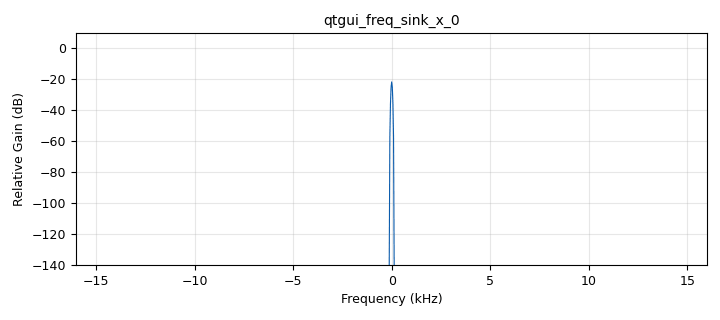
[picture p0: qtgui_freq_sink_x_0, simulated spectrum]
options:
  parameters:
    author: yabool2001
    copyright: maciej.zemlo@gmail.pl
    description: https://wiki.gnuradio.org/index.php?title=Designing_Filter_Taps
    generate_options: qt_gui
    id: tuto_wikignuradio_Designing_filter_taps
    output_language: python
    title: Wiki Tuto GNU Radio Designing filter taps Example
  states: {}

blocks:
- name: boxcar_filter
  id: variable
  parameters:
    value: 5.955526285106316e-05,5.7737022871151567e-05,5.5895259720273316e-05,5.403067552833818e-05,5.214396878727712e-05,5.0235859816893935e-05,4.8307058023056015e-05,4.635829463950358e-05,4.4390311813913286e-05,4.2403855331940576e-05,4.039967097924091e-05,3.837852636934258e-05,3.634118547779508e-05,3.428841955610551e-05,3.22210144076962e-05,3.0139754017000087e-05,2.8045431463397108e-05,2.5938845283235423e-05,2.3820797650841996e-05,2.1692098016501404e-05,1.9553559468477033e-05,1.740599691402167e-05,1.5250236174324527e-05,1.3087099432596005e-05,1.0917417057498824e-05,8.742018508201e-06,6.561739610333461e-06,4.377417099021841e-06,2.1898904378758743e-06,-2.4595437447500595e-19,-2.1914115677645896e-06,-4.383501618576702e-06,-6.575424322363688e-06,-8.766335668042302e-06,-1.0955390280287247e-05,-1.3141742783773225e-05,-1.532454916741699e-05,-1.75029672391247e-05,-1.9676150259329006e-05,-2.184326331189368e-05,-2.400346056674607e-05,-2.615590528876055e-05,-2.82997680187691e-05,-3.043421202164609e-05,-3.25584078382235e-05,-3.467153146630153e-05,-3.677275890368037e-05,-3.886127524310723e-05,-4.0936261939350516e-05,-4.299691499909386e-05,-4.504242679104209e-05,-4.707199695985764e-05,-4.908483970211819e-05,-5.108015830046497e-05,-5.3057177865412086e-05,-5.5015116231516004e-05,-5.695321306120604e-05,-5.8870704378932714e-05,-6.076684076106176e-05,-6.26408655080013e-05,-6.449205829994753e-05,-6.631967698922381e-05,-6.812299398006871e-05,-6.990131078055128e-05,-7.165392162278295e-05,-7.338013529079035e-05,-7.507925329264253e-05,-7.675062806811184e-05,-7.83935611252673e-05,-8.00074267317541e-05,-8.159158460330218e-05,-8.314537990372628e-05,-8.466820872854441e-05,-8.615945989731699e-05,-8.761853678151965e-05,-8.904485002858564e-05,-9.043782483786345e-05,-9.179690823657438e-05,-9.312155452789739e-05,-9.441122529096901e-05,-9.566539665684104e-05,-9.688355203252286e-05,-9.806521120481193e-05,-9.920988668454811e-05,-0.0001003171200864017,-0.00010138643847312778,-0.00010241741983918473,-0.0001034096276271157,-0.0001043626616592519,-0.00010527612903388217,-0.00010614963684929535,-0.00010698283585952595,-0.00010777536226669326,-0.00010852688137674704,-0.0001092370948754251,-0.0001099056753446348,-0.0001105323462979868,-0.00011111683852504939,-0.00011165889009134844,-0.00011215826089028269,-0.00011261474719503894,-0.00011302812345093116,-0.00011339819320710376,-0.00011372480366844684,-0.00011400778748793527,-0.0001142470064223744,-0.00011444232950452715,-0.00011459366214694455,-0.00011470090248622,-0.00011476399231469259,-0.00011478285887278616,-0.00011475748033262789,-0.00011468782759038731,-0.0001145738860941492,-0.00011441568494774401,-0.00011421323870308697,-0.000113966605567839,-0.000113675843749661,-0.00011334103328408673,-0.00011296226875856519,-0.0001125396738643758,-0.0001120733650168404,-0.00011156350956298411,-0.00011101025302195922,-0.0001104137918446213,-0.00010977432248182595,-0.00010909205593634397,-0.00010836723231477663,-0.00010760008444776759,-0.00010679088882170618,-0.00010593993647489697,-0.0001050475038937293,-0.00010411392577225342,-0.00010313951497664675,-0.00010212462802883238,-0.00010106962872669101,-9.997488086810336e-05,-9.884079918265343e-05,-9.766776929609478e-05,-9.645622776588425e-05,-9.520661842543632e-05,-9.391937783220783e-05,-9.259499347535893e-05,-9.123394556809217e-05,-8.98367288755253e-05,-8.84038454387337e-05,-8.693583367858082e-05,-8.543323201593012e-05,-8.389659342356026e-05,-8.232648542616516e-05,-8.072349010035396e-05,-7.9088204074651e-05,-7.742123125353828e-05,-7.572318281745538e-05,-7.399470632662997e-05,-7.223643478937447e-05,-7.044902304187417e-05,-6.863314774818718e-05,-6.678948557237163e-05,-6.491872045444325e-05,-6.30215581622906e-05,-6.109871173975989e-05,-5.915089786867611e-05,-5.7178858696715906e-05,-5.518332909559831e-05,-5.316506212693639e-05,-5.112481812830083e-05,-4.906337562715635e-05,-4.6981502237031236e-05,-4.4879991037305444e-05,-4.2759638745337725e-05,-4.062124571646564e-05,-3.846562321996316e-05,-3.62935898010619e-05,-3.410597491892986e-05,-3.190360439475626e-05,-2.9687314963666722e-05,-2.7457957912702113e-05,-2.5216377252945676e-05,-2.296342972840648e-05,-2.0699973902083002e-05,-1.842687743192073e-05,-1.6145006156875752e-05,-1.3855235010851175e-05,-1.1558438927750103e-05,-9.255500117433257e-06,-6.9472989707719535e-06,-4.634723154595122e-06,-2.318660108358017e-06,-1.7376110083988649e-19,2.3203658656711923e-06,4.641543910111068e-06,6.96264078214881e-06,9.282761311624199e-06,1.1601012374740094e-05,1.3916495845478494e-05,1.6228321328526363e-05,1.8535589333623648e-05,2.0837414922425523e-05,2.3132901333156042e-05,2.5421160898986273e-05,2.7701305953087285e-05,2.997245428559836e-05,3.2233721867669374e-05,3.4484230127418414e-05,3.672310049296357e-05,3.894946712534875e-05,4.116246054763906e-05,4.336121855885722e-05,4.554487895802595e-05,4.7712594096083194e-05,4.986351996194571e-05,5.1996805268572643e-05,5.411162055679597e-05,5.6207136367447674e-05,5.828253415529616e-05,6.0336995375109836e-05,6.236970511963591e-05,6.437988486140966e-05,6.636672333115712e-05,6.832944200141355e-05,7.026727689662948e-05,7.217944221338257e-05,7.406520307995379e-05,7.592380279675126e-05,7.775450649205595e-05,7.955658657010645e-05,8.132932998705655e-05,8.30720309750177e-05,8.478399831801653e-05,8.646453352412209e-05,8.811298903310671e-05,8.97286954568699e-05,9.131099795922637e-05,9.28592708078213e-05,9.437288827029988e-05,9.585123916622251e-05,9.729372686706483e-05,9.869978384813294e-05,0.00010006882075686008,0.0001014002991723828,0.00010269365884596482,0.00010394838318461552,0.00010516397014725953,0.00010633990314090624,0.00010747571650426835,0.00010857093002414331,0.00010962508531520143,0.0001106377603719011,0.00011160852591274306,0.00011253698176005855,0.0001134227350121364,0.00011426541459513828,0.00011506464943522587,0.00011582011939026415,0.00011653148976620287,0.00011719845497282222,0.00011782071669586003,0.00011839801300084218,0.00011893008195329458,0.00011941669072257355,0.00011985761375399306,0.00012025264004478231,0.00012060158769600093,0.00012090428208466619,0.00012116058496758342,0.00012137035082560033,0.0001215334705193527,0.00012164984218543395,0.0001217193785123527,0.00012174203584436327,0.00012171774869784713,0.00012164650979684666,0.00012152829731348902,0.00012136312579968944,0.00012115102435927838,0.00012089203664800152,0.00012058622814947739,0.00012023367889923975,0.0001198344980366528,0.00011938879470108077,0.00011889670713571832,0.00011835839541163296,0.0001177740195998922,0.00011714377615135163,0.00011646787606878206,0.00011574655218282714,0.0001149800227722153,0.0001141685715992935,0.00011331247515045106,0.00011241201718803495,0.0001114675251301378,0.00011047931184293702,0.00010944774840027094,0.0001083731694961898,0.00010725598986027762,0.00010609658056637272,0.00010489535634405911,0.00010365276830270886,0.00010236925299977884,0.00010104527609655634,9.968131053028628e-05,9.827785106608644e-05,9.683541429694742e-05,9.535452409181744e-05,9.383572614751756e-05,9.227956616086885e-05,9.068661893252283e-05,8.905747381504625e-05,8.739273471292108e-05,8.569300553062931e-05,8.395891927648336e-05,8.219111623475328e-05,8.039025124162436e-05,7.85570009611547e-05,7.669203478144482e-05,7.479605119442567e-05,7.286976324394345e-05,7.091388397384435e-05,6.892914097988978e-05,6.6916283685714e-05,6.487606151495129e-05,6.280925299506634e-05,6.0716607549693435e-05,5.8598932810127735e-05,5.645701821777038e-05,5.429167140391655e-05,5.210370727581903e-05,4.989395529264584e-05,4.7663244913564995e-05,4.541242742561735e-05,4.314234320190735e-05,4.0853865357348695e-05,3.854785245493986e-05,3.6225181247573346e-05,3.388673212612048e-05,3.153339639538899e-05,2.916607445513364e-05,2.678565761016216e-05,2.4393058993155137e-05,2.1989191736793146e-05,1.9574968973756768e-05,1.715131656965241e-05,1.4719162209075876e-05,1.2279432667128276e-05,9.833065632847138e-06,7.380996976280585e-06,4.924167569697602e-06,2.4635198769829003e-06,-2.4595437447500595e-19,-2.4654452772665536e-06,-4.931867351842811e-06,-7.398316483886447e-06,-9.863842024060432e-06,-1.2327494005148765e-05,-1.478832109569339e-05,-1.7245371054741554e-05,-1.9697696188814007e-05,-2.21443478949368e-05,-2.4584378479630686e-05,-2.701684024941642e-05,-2.9440792786772363e-05,-3.185529203619808e-05,-3.425940667511895e-05,-3.665219628601335e-05,-3.9032729546306655e-05,-4.1400082409381866e-05,-4.3753330828621984e-05,-4.609155803336762e-05,-4.8413847252959386e-05,-5.071929990663193e-05,-5.300700286170468e-05,-5.527606845134869e-05,-5.752560537075624e-05,-5.9754729591077194e-05,-6.196257163537666e-05,-6.414824747480452e-05,-6.631092401221395e-05,-6.844972813269123e-05,-7.056383037706837e-05,-7.26523794583045e-05,-7.471456774510443e-05,-7.674956577830017e-05,-7.875658775446936e-05,-8.073481876635924e-05,-8.268348028650507e-05,-8.460179378744215e-05,-8.648900256957859e-05,-8.834435720928013e-05,-9.016710828291252e-05,-9.195652819471434e-05,-9.3711911176797e-05,-9.543254418531433e-05,-9.711773600429296e-05,-9.876681724563241e-05,-0.00010037911852123216,-0.00010195397771894932,-0.0001034907836583443,-0.00010498890333110467,-0.00010644771828083321,-0.0001078666391549632,-0.00010924509115284309,-0.0001105825140257366,-0.00011187835480086505,-0.000113132075057365,-0.00011434316547820345,-0.00011551113857422024,-0.00011663547775242478,-0.0001177157464553602,-0.0001187514717457816,-0.00011974223161814734,-0.0001206875967909582,-0.0001215871816384606,-0.0001224405859829858,-0.00012324746057856828,-0.00012400744890328497,-0.0001247202162630856,-0.0001253854570677504,-0.00012600286572705954,-0.00012657218030653894,-0.00012709313887171447,-0.00012756549404002726,-0.00012798902753274888,-0.00012836355017498136,-0.00012868887279182673,-0.00012896480620838702,-0.0001291912340093404,-0.00012936802522744983,-0.00012949506344739348,-0.00012957224680576473,-0.00012959953164681792,-0.0001295768452109769,-0.00012950417294632643,-0.0001293815003009513,-0.00012920881272293627,-0.00012898616841994226,-0.00012871361104771495,-0.0001283911697100848,-0.0001280189462704584,-0.0001275970571441576,-0.0001271256187465042,-0.00012660476204473525,-0.0001260346471099183,-0.00012541547766886652,-0.00012474742834456265,-0.00012403073196765035,-0.00012326560681685805,-0.0001224523293785751,-0.00012159115431131795,-0.00012068239448126405,-0.00011972634092671797,-0.00011872333561768755,-0.00011767374235205352,-0.00011657789582386613,-0.00011543619621079415,-0.00011424903641454875,-0.0001130168602685444,-0.00011174008977832273,-0.00011041916877729818,-0.00010905459203058854,-0.00010764683975139633,-0.00010619642853271216,-0.00010470386769156903,-0.000103169702924788,-0.00010159449448110536,-9.997881716117263e-05,-9.832325304159895e-05,-9.66284133028239e-05,-9.48949164012447e-05,-9.312340262113139e-05,-9.131451952271163e-05,-8.946893649408594e-05,-8.758733019931242e-05,-8.567040640627965e-05,-8.371885633096099e-05,-8.173342212103307e-05,-7.971482409629971e-05,-7.766382623231038e-05,-7.558119250461459e-05,-7.346768688876182e-05,-7.132410974008963e-05,-6.915126141393557e-05,-6.694994226563722e-05,-6.472100358223543e-05,-6.246525299502537e-05,-6.018355270498432e-05,-5.787675763713196e-05,-5.554573726840317e-05,-5.3191364713711664e-05,-5.081453491584398e-05,-4.841614281758666e-05,-4.599709063768387e-05,-4.35582987847738e-05,-4.110069130547345e-05,-3.862519224639982e-05,-3.613274748204276e-05,-3.36242992489133e-05,-3.1100804335437715e-05,-2.856321953004226e-05,-2.6012516173068434e-05,-2.3449660147889517e-05,-2.0875631889794022e-05,-1.8291413653059863e-05,-1.569799132994376e-05,-1.309636081714416e-05,-1.0487512554391287e-05,-7.872448804846499e-06,-5.2521718316711485e-06,-2.6276861717633437e-06,7.216319011021668e-19,2.6298769171262393e-06,5.260932994133327e-06,7.892155736044515e-06,1.0522529919398949e-05,1.3151042367098853e-05,1.577667899255175e-05,1.8398424799670465e-05,2.101526661135722e-05,2.3626194888493046e-05,2.6230192816001363e-05,2.8826256311731413e-05,3.141337583656423e-05,3.399054548935965e-05,3.655676846392453e-05,3.911104431608692e-05,4.1652379877632484e-05,4.417977834236808e-05,4.66922610939946e-05,4.918884951621294e-05,5.166856135474518e-05,5.413043254520744e-05,5.6573499023215845e-05,5.899679672438651e-05,6.139938341220841e-05,6.378030957421288e-05,6.613864388782531e-05,6.847345503047109e-05,7.078383350744843e-05,7.306885527214035e-05,7.53276253817603e-05,7.755924889352173e-05,7.976284541655332e-05,8.193754183594137e-05,8.40824723127298e-05,8.619679283583537e-05,8.82796521182172e-05,9.03302279766649e-05,9.234769822796807e-05,9.433126979274675e-05,9.628012776374817e-05,9.819351544138044e-05,0.00010007064702222124,0.00010191078035859391,0.00010371317330282182,0.0001054770837072283,0.00010720182763179764,0.00010888668475672603,0.00011053097114199772,0.00011213403922738507,0.00011369521962478757,0.00011521387204993516,0.00011668938532238826,0.00011812115553766489,0.00011950858606724069,0.00012085110938642174,0.00012214816524647176,0.00012339922250248492,0.00012460374273359776,0.00012576124572660774,0.0001268712367163971,0.00012793323548976332,0.00012894680548924953,0.00012991151015739888,0.00013082694204058498,0.00013169269368518144,0.00013250838674139231,0.00013327368651516736,0.00013398822920862585,0.00013465172378346324,0.00013526383554562926,0.0001358243025606498,0.00013633289199788123,0.00013678931281901896,0.00013719337584916502,0.00013754487736150622,0.0001378436281811446,0.00013808948278892785,0.00013828226656187326,0.00013842190674040467,0.00013850827235728502,0.00013854127610102296,0.00013852088886778802,0.0001384470670018345,0.000138319781399332,0.00013813903206028044,0.0001379048335365951,0.00013761727313976735,0.0001372763654217124,0.00013688221224583685,0.000136434959131293,0.00013593466428574175,0.00013538151688408107,0.00013477567699737847,0.00013411733380053192,0.00013340669102035463,0.00013264398148749024,0.0001318294380325824,0.0001309633516939357,0.00013004599895793945,0.0001290776999667287,0.00012805874575860798,0.00012698954378720373,0.00012587042874656618,0.0001247017935384065,0.00012348403106443584,0.00012221757788211107,0.0001209028996527195,0.00011954044020967558,0.00011813068704213947,0.00011667412763927132,0.00011517130769789219,0.0001136227510869503,0.00011202901805518195,0.00011039067612728104,0.00010870833648368716,0.00010698258847696707,0.00010521406511543319,0.00010340341395931318,0.00010155129712074995,9.965838398784399e-05,9.772537305252627e-05,9.575297008268535e-05,9.374190995004028e-05,9.169292752631009e-05,8.960677951108664e-05,8.748422987991944e-05,8.532607171218842e-05,8.313311263918877e-05,8.090615301625803e-05,7.864602230256423e-05,7.635357178514823e-05,7.402965275105089e-05,7.167513103922829e-05,6.929088704055175e-05,6.68778084218502e-05,6.443680467782542e-05,6.19687998550944e-05,5.9474699810380116e-05,5.6955461332108825e-05,5.441202665679157e-05,5.184535257285461e-05,4.925640678266063e-05,4.664617154048756e-05,4.4015629100613296e-05,4.1365783545188606e-05,3.869762804242782e-05,3.6012177588418126e-05,3.33104508172255e-05,3.059348091483116e-05,2.786229561024811e-05,2.5117933546425775e-05,2.2361442461260594e-05,1.959387373062782e-05,1.6816282368381508e-05,1.402973157382803e-05,1.1235286365263164e-05,8.43401448946679e-06,5.626991878671106e-06,2.8152942377346335e-06,-2.4595437447500595e-19,-2.8178089905850356e-06,-5.637049525830662e-06,-8.456635441689286e-06,-1.1275483302597422e-05,-1.4092503988649696e-05,-1.690661156317219e-05,-1.971671917999629e-05,-2.252173908345867e-05,-2.532058715587482e-05,-2.8112181098549627e-05,-3.089543679379858e-05,-3.366927194292657e-05,-3.643261516117491e-05,-3.9184389606816694e-05,-4.1923522076103836e-05,-4.4648950279224664e-05,-4.7359611926367506e-05,-5.0054441089741886e-05,-5.2732393669430166e-05,-5.5392421927535906e-05,-5.803348540212028e-05,-6.065454363124445e-05,-6.325457798084244e-05,-6.583255162695423e-05,-6.838746776338667e-05,-7.091831503203139e-05,-7.342409662669525e-05,-7.590382301714271e-05,-7.835651922505349e-05,-8.078121027210727e-05,-8.317694300785661e-05,-8.554276428185403e-05,-8.787774277152494e-05,-9.018093260237947e-05,-9.245143155567348e-05,-9.468834468862042e-05,-9.68907552305609e-05,-9.905779734253883e-05,-0.00010118860518559813,-0.00010328232019674033,-0.00010533810564083979,-0.00010735513205872849,-0.00010933259181911126,-0.00011126968456665054,-0.000113165624497924,-0.00011501964036142454,-0.0001168309900094755,-0.00011859892401844263,-0.00012032274389639497,-0.00012200171477161348,-0.00012363518180791289,-0.000125222431961447,-0.00012676285405177623,-0.00012825577869080007,-0.00012970060924999416,-0.00013109674910083413,-0.00013244360161479563,-0.0001337405847152695,-0.000134987203637138,-0.000136182876303792,-0.00013732713705394417,-0.00013841947657056153,-0.00013945942919235677,-0.00014044657291378826,-0.00014138042752165347,-0.00014226061466615647,-0.00014308674144558609,-0.0001438584440620616,-0.00014457537326961756,-0.0001452372089261189,-0.00014584363088943064,-0.00014639436267316341,-0.0001468891277909279,-0.0001473276934120804,-0.00014770985580980778,-0.00014803539670538157,-0.00014830414147581905,-0.0001485159300500527,-0.00014867063146084547,-0.00014876812929287553,-0.00014880836533848196,-0.00014879120863042772,-0.0001487166591687128,-0.00014858470240142196,-0.0001483952801208943,-0.00014814846508670598,-0.00014784428640268743,-0.00014748278772458434,-0.00014706408546771854,-0.00014658823783975095,-0.00014605543401557952,-0.00014546580496244133,-0.00014481951075140387,-0.00014411675510928035,-0.00014335777086671442,-0.00014254279085434973,-0.00014167203335091472,-0.00014074584760237485,-0.0001397645246470347,-0.00013872835552319884,-0.0001376377185806632,-0.00013649296306539327,-0.00013529451098293066,-0.00013404274068307132,-0.00013273810327518731,-0.00013138104986865073,-0.00012997203157283366,-0.00012851158680859953,-0.00012700018123723567,-0.00012543838238343596,-0.0001238267432199791,-0.00012216581671964377,-0.00012045621406286955,-0.00011869853915413842,-0.00011689343227772042,-0.00011504153371788561,-0.00011314352741464972,-0.00011120009003207088,-0.00010921192733803764,-0.00010717976692831144,-0.00010510435095056891,-0.00010298643610440195,-0.00010082680091727525,-9.862623119261116e-05,-9.638554183766246e-05,-9.410555503563955e-05,-9.178711479762569e-05,-8.943107241066173e-05,-8.703830826561898e-05,-8.460970275336877e-05,-8.214616536861286e-05,-7.964859833009541e-05,-7.711795478826389e-05,-7.455515151377767e-05,-7.196115620899945e-05,-6.933694385224953e-05,-6.668348942184821e-05,-6.400179699994624e-05,-6.129285611677915e-05,-5.8557703596306965e-05,-5.5797354434616864e-05,-5.301285636960529e-05,-5.020525350118987e-05,-4.737560448120348e-05,-4.452498251339421e-05,-4.165446443948895e-05,-3.8765138015151024e-05,-3.585809827200137e-05,-3.293444751761854e-05,-2.9995293516549282e-05,-2.704175676626619e-05,-2.4074963221210055e-05,-2.1096038835821673e-05,-1.8106122297467664e-05,-1.5106353203009348e-05,-1.2097880244255066e-05,-9.081851203518454e-06,-6.059422048565466e-06,-3.0317514756461605e-06,-3.029043379326041e-19,3.0346677704073954e-06,6.071086318115704e-06,9.108086487685796e-06,1.2144500033173244e-05,1.5179155525402166e-05,1.8210881535196677e-05,2.1238509361865e-05,2.4260869395220652e-05,2.727678838709835e-05,3.0285102184279822e-05,3.328464299556799e-05,3.627424666774459e-05,3.925274722860195e-05,4.2218998714815825e-05,4.517183333518915e-05,4.811010876437649e-05,5.103267903905362e-05,5.393839455791749e-05,5.682612754753791e-05,5.9694746596505865e-05,6.254312756936997e-05,6.537015724461526e-05,6.817471148679033e-05,7.095570617821068e-05,7.371204264927655e-05,7.644262223038822e-05,7.914638263173401e-05,8.182225428754464e-05,8.446916763205081e-05,8.708608947927132e-05,8.967197209130973e-05,9.222579683410004e-05,9.474653779761866e-05,9.723320545163006e-05,9.968479571398348e-05,0.00010210034088231623,0.00010447887325426564,0.000106819425127469,0.00010912107245530933,0.00011138289846712723,0.0001136039718403481,0.00011578340490814298,0.0001179203245555982,0.00012001386494375765,0.00012206316750962287,0.00012406740279402584,0.00012602575588971376,0.0001279374264413491,0.0001298016431974247,0.0001316176203545183,0.0001333846157649532,0.00013510191638488322,0.00013676879461854696,0.0001383845810778439,0.00013994856271892786,0.00014146012836135924,0.00014291862316895276,0.00014432343596126884,0.0001456739701097831,0.00014696964353788644,0.0001482099323766306,0.0001493942691013217,0.00015052215894684196,0.00015159312169998884,0.0001526066625956446,0.00015356234507635236,0.00015445976168848574,0.0001552984758745879,0.00015607813838869333,0.00015679838543292135,0.00015745885320939124,0.0001580592361278832,0.0001585992577020079,0.00015907867054920644,0.00015949716907925904,0.00015985459322109818,0.000160150695592165,0.00016038533067330718,0.000160558323841542,0.0001606695877853781,0.00016071896243374795,0.0001607064186828211,0.00016063186922110617,0.00016049529949668795,0.00016029666585382074,0.00016003601194825023,0.00015971336688380688,0.0001593287888681516,0.000158882379764691,0.00015837424143683165,0.0001578044902998954,0.00015717331552878022,0.00015648087719455361,0.00015572737902402878,0.00015491305384784937,0.0001540381636004895,0.00015310297021642327,0.0001521077792858705,0.0001510529255028814,0.00014993872900959104,0.00014876558270771056,0.0001475338649470359,0.00014624398318119347,0.00014489640307147056,0.00014349156117532402,0.00014202995225787163,0.00014051208563614637,0.00013893848517909646,0.00013730967475567013,0.0001356262800982222,0.0001338888396276161,0.0001320979936281219,0.00013025438238400966,0.0001283586461795494,0.00012641146895475686,0.000124413549201563,0.00012236561451572925,0.00012026839249301702,0.00011812263983301818,0.00011592913506319746,0.00011368867853889242,0.00011140207789139822,0.0001090701698558405,0.00010669381299521774,0.0001042738658725284,0.00010181122343055904,9.930679516401142e-05,9.676149056758732e-05,9.417625551577657e-05,9.155204315902665e-05,8.888982119970024e-05,8.619058644399047e-05,8.345532842213288e-05,8.068506576819345e-05,7.788083894411102e-05,7.50436884118244e-05,7.217466918518767e-05,6.92748581059277e-05,6.634533929172903e-05,6.338720413623378e-05,6.040157313691452e-05,5.738955951528624e-05,5.435230559669435e-05,5.129094279254787e-05,4.8206635256065056e-05,4.510054350248538e-05,4.197384259896353e-05,3.8827711250633e-05,3.566334635252133e-05,3.2481948437634856e-05,2.928472349594813e-05,2.6072884793393314e-05,2.2847656509839e-05,1.961026464414317e-05,1.6361946109100245e-05,1.3103940545988735e-05,9.837491234065965e-06,6.563848728546873e-06,3.2842658583831508e-06,-2.4595437447500595e-19,-3.287688741693273e-06,-6.577537533303257e-06,-9.868281267699786e-06,-1.315865392825799e-05,-1.64473876793636e-05,-1.9733213775907643e-05,-2.3014863472781144e-05,-2.6291068934369832e-05,-2.9560560506070033e-05,-3.282207762822509e-05,-3.607434337027371e-05,-3.931611354346387e-05,-4.2546111217234284e-05,-4.576309220283292e-05,-4.8965794121613726e-05,-5.2152976422803476e-05,-5.5323387641692534e-05,-5.84757981414441e-05,-6.160896737128496e-05,-6.472167297033593e-05,-6.781268893973902e-05,-7.088080747053027e-05,-7.392482075374573e-05,-7.694353553233668e-05,-7.993574399733916e-05,-8.29002819955349e-05,-8.583598537370563e-05,-8.874168270267546e-05,-9.161620982922614e-05,-9.445845353184268e-05,-9.726727148517966e-05,-0.00010004153591580689,-0.00010278016270603985,-0.00010548203863436356,-0.00010814610868692398,-0.00011077128147007897,-0.00011335652379784733,-0.00011590078065637499,-0.0001184030479635112,-0.00012086229253327474,-0.00012327753938734531,-0.00012564781354740262,-0.00012797213275916874,-0.00013024959480389953,-0.00013247922470327467,-0.00013466013479046524,-0.0001367914373986423,-0.00013887225941289216,-0.0001409017131663859,-0.00014287901285570115,-0.0001448033144697547,-0.00014667381765320897,-0.00014848973660264164,-0.0001502503437222913,-0.00015195488231256604,-0.00015360262477770448,-0.0001551929017296061,-0.00015672501467633992,-0.00015819832333363593,-0.00015961220196913928,-0.00016096602485049516,-0.00016225920990109444,-0.00016349121870007366,-0.00016466148372273892,-0.00016576949565205723,-0.00016681475972291082,-0.0001677968102740124,-0.00016871519619598985,-0.00016956949548330158,-0.00017035931523423642,-0.0001710842625470832,-0.00017174403183162212,-0.00017233824473805726,-0.00017286662477999926,-0.00017332891002297401,-0.00017372483853250742,-0.00017405417747795582,-0.00017431673768442124,-0.00017451234452892095,-0.00017464085249230266,-0.0001747021306073293,-0.00017469609156250954,-0.00017462267715018243,-0.0001744818000588566,-0.0001742734748404473,-0.00017399771604686975,-0.00017365450912620872,-0.00017324397049378604,-0.00017276614380534738,-0.00017222116002812982,-0.0001716091501293704,-0.00017093028873205185,-0.0001701847359072417,-0.00016937270993366838,-0.00016849447274580598,-0.00016755028627812862,-0.00016654042701702565,-0.00016546521510463208,-0.00016432501433882862,-0.00016312015941366553,-0.0001618510577827692,-0.00016051813145168126,-0.00015912183152977377,-0.00015766262367833406,-0.00015614097355864942,-0.0001545574195915833,-0.00015291248564608395,-0.00015120678290259093,-0.0001494408497819677,-0.00014761534112039953,-0.0001457308535464108,-0.00014378807100001723,-0.00014178769197314978,-0.00013973040040582418,-0.00013761690934188664,-0.0001354480191366747,-0.00013322447193786502,-0.00013094705354887992,-0.00012861660798080266,-0.000126233950140886,-0.0001237999676959589,-0.000121315497381147,-0.00011878148507094011,-0.0001161988329840824,-0.00011356847971910611,-0.00011089137842645869,-0.00010816852591233328,-0.0001054009044310078,-0.00010258954716846347,-9.973546548280865e-05,-9.683972166385502e-05,-9.390339255332947e-05,-9.092754771700129e-05,-8.791330037638545e-05,-8.486175647703931e-05,-8.17740656202659e-05,-7.865136285545304e-05,-7.549482688773423e-05,-7.230561459437013e-05,-6.908493378432468e-05,-6.583398499060422e-05,-6.255397602217272e-05,-5.9246151067782193e-05,-5.591175067820586e-05,-5.255202268017456e-05,-4.916823309031315e-05,-4.576166611514054e-05,-4.233360232319683e-05,-3.888533319695853e-05,-3.5418172046775e-05,-3.1933428545016795e-05,-2.843242145900149e-05,-2.4916487745940685e-05,-2.138695890607778e-05,-1.78451828105608e-05,-1.429250551154837e-05,-1.073028670361964e-05,-7.159884717111709e-06,-3.5826658404403133e-06,8.94605551848297e-19,3.5867394672095543e-06,7.176175586209865e-06,1.076692933565937e-05,1.4357619875227101e-05,1.7946864318219014e-05,2.153327841369901e-05,2.5115477910730988e-05,2.8692078558378853e-05,3.226169792469591e-05,3.582295175874606e-05,3.937445944757201e-05,4.2914838559227064e-05,4.644272121367976e-05,4.9956732254941016e-05,5.345549652702175e-05,5.693765342584811e-05,6.0401842347346246e-05,6.384670996339992e-05,6.727090658387169e-05,7.067308615660295e-05,7.40519244573079e-05,7.740608270978555e-05,8.073424396570772e-05,8.403509855270386e-05,8.730733679840341e-05,9.054967813426629e-05,9.376083471579477e-05,9.693951869849116e-05,0.00010008449316956103,0.00010319449938833714,0.00010626828589010984,0.00010930464486591518,0.00011230235395487398,0.00011526021989993751,0.00011817705672001466,0.00012105167843401432,0.00012388294271659106,0.0001266697363462299,0.00012941086606588215,0.00013210529868956655,0.0001347518846159801,0.0001373495761072263,0.00013989732542540878,0.00014239407028071582,0.00014483880659099668,0.00014723050117027014,0.0001495682226959616,0.00015185096708592027,0.00015407780301757157,0.0001562478137202561,0.00015836008242331445,0.00016041375056374818,0.00016240794502664357,0.00016434180724900216,0.00016621458053123206,0.00016802542086225003,0.00016977355699054897,0.00017145827587228268,0.00017307883535977453,0.00017463452240917832,0.00017612468218430877,0.0001775486598489806,0.000178905829670839,0.00018019559502135962,0.00018141734472010285,0.00018257058400195092,0.00018365475989412516,0.00018466934852767736,0.00018561392789706588,0.00018648800323717296,0.00018729119619820267,0.00018802308477461338,0.00018868329061660916,0.00018927153723780066,0.00018978744628839195,0.00019023075583390892,0.00019060121849179268,0.00019089860143139958,0.0001911226863740012,0.00019127331324853003,0.00019135033653583378,0.00019135365437250584,0.0001912831503432244,0.00019113878079224378,0.00019092050206381828,0.00019062829960603267,0.00019026223162654787,0.00018982234178110957,0.00018930868827737868,0.00018872138753067702,0.0001880605996120721,0.000187326455488801,0.00018651918799150735,0.00018563898629508913,0.0001846861414378509,0.0001836608862504363,0.00018256355542689562,0.00018139448366127908,0.00018015402019955218,0.0001788425724953413,0.00017746056255418807,0.00017600842693354934,0.00017448664584662765,0.00017289571405854076,0.00017123616999015212,0.00016950855206232518,0.00016771347145549953,0.00016585149569436908,0.00016392330871894956,0.00016192955081351101,0.00015987090591806918,0.00015774808707647026,0.0001555618509883061,0.00015331293980125338,0.00015100215387064964,0.00014863030810374767,0.00014619824651163071,0.00014370681310538203,0.000141156924655661,0.00013854946882929653,0.00013588537694886327,0.00013316560944076627,0.00013039115583524108,0.00012756302021443844,0.0001246822066605091,0.00012174977746326476,0.00011876678763655946,0.00011573432857403532,0.0001126535062212497,0.0001095254483516328,0.00010635129729053006,0.00010313222446711734,9.986940131057054e-05,9.656405018176883e-05,9.321737888967618e-05,8.9830624347087e-05,8.640503801871091e-05,8.294190774904564e-05,7.944249955471605e-05,7.590813038405031e-05,7.234011718537658e-05,6.873977690702304e-05,6.510848470497876e-05,6.144756480352953e-05,5.7758414186537266e-05,5.404241164796986e-05,5.030095417168923e-05,4.6535446017514914e-05,4.2747316911118105e-05,3.893798930221237e-05,3.5108903830405325e-05,3.1261519325198606e-05,2.7397281883168034e-05,2.3517664885730483e-05,1.9624141714302823e-05,1.571819302625954e-05,1.180130766442744e-05,7.874979928601533e-06,3.940708666050341e-06,-2.4595437447500595e-19,-3.9456372178392485e-06,-7.894691407273058e-06,-1.1845644621644169e-05,-1.5796980733284727e-05,-1.974717633856926e-05,-2.369471258134581e-05,-2.7638063329504803e-05,-3.157570608891547e-05,-3.550611654645763e-05,-3.942777402698994e-05,-4.333915785537101e-05,-4.7238750994438305e-05,-5.1125036407029256e-05,-5.4996500693960115e-05,-5.885163409402594e-05,-6.26889304840006e-05,-6.650688737863675e-05,-7.030402775853872e-05,-7.407884550048038e-05,-7.782985630910844e-05,-8.155560499290004e-05,-8.525460725650191e-05,-8.892541518434882e-05,-9.256658086087555e-05,-9.617665637051687e-05,-9.975422290153801e-05,-0.00010329785436624661,-0.0001068061392288655,-0.000110277695057448,-0.00011371113214408979,-0.0001171050826087594,-0.00012045817857142538,-0.00012376910308375955,-0.00012703648826573044,-0.00013025905354879797,-0.00013343548926059157,-0.00013656451483257115,-0.00013964484969619662,-0.000142675286042504,-0.00014565454330295324,-0.00014858147187624127,-0.00015145480574574322,-0.00015427340986207128,-0.0001570361346239224,-0.00015974181587807834,-0.00016238937678281218,-0.0001649776822887361,-0.0001675056992098689,-0.0001699723507044837,-0.00017237661813851446,-0.00017471748287789524,-0.00017699398449622095,-0.00017920513346325606,-0.00018135002756025642,-0.0001834277354646474,-0.0001854373695096001,-0.00018737807113211602,-0.00018924901087302715,-0.0001910493738250807,-0.0001927783596329391,-0.00019443524070084095,-0.00019601926032919437,-0.0001975297200260684,-0.00019896596495527774,-0.0002003273111768067,-0.00020161314751021564,-0.00020282289187889546,-0.00020395596220623702,-0.00020501184917520732,-0.0002059900143649429,-0.0002068900066660717,-0.00020771136041730642,-0.00020845365361310542,-0.00020911652245558798,-0.00020969955949112773,-0.00021020248823333532,-0.00021062498854007572,-0.00021096676937304437,-0.00021122762700542808,-0.00021140735771041363,-0.00021150574320927262,-0.00021152268163859844,-0.0002114580274792388,-0.00021131173707544804,-0.00021108372311573476,-0.00021077397104818374,-0.00021038250997662544,-0.0002099093544529751,-0.00020935462089255452,-0.00020871836750302464,-0.00020800075435545295,-0.0002072019560728222,-0.00020632214727811515,-0.00020536160445772111,-0.00020432054589036852,-0.00020319927716627717,-0.0002019981329794973,-0.00020071746257599443,-0.0001993576588574797,-0.00019791912927757949,-0.0001964023249456659,-0.00019480772607494146,-0.0001931358565343544,-0.00019138722564093769,-0.00018956244457513094,-0.00018766208086162806,-0.00018568677478469908,-0.0001836371811805293,-0.0001815140130929649,-0.0001793179544620216,-0.0001770497765392065,-0.00017471025057602674,-0.00017230017692781985,-0.00016982038505375385,-0.00016727174806874245,-0.00016465512453578413,-0.00016197148943319917,-0.0001592217304278165,-0.00015640682249795645,-0.000153527784277685,-0.00015058561984915286,-0.00014758137695025653,-0.00014451613242272288,-0.00014139097766019404,-0.00013820706226397306,-0.00013496549217961729,-0.00013166746066417545,-0.00012831414642278105,-0.0001249067863682285,-0.00012144658830948174,-0.00011793483281508088,-0.0001143727931776084,-0.00011076177179347724,-0.00010710310016293079,-0.00010339810978621244,-9.964817581931129e-05,-9.585467341821641e-05,-9.201899956678972e-05,-8.814257307676598e-05,-8.422683458775282e-05,-8.027323929127306e-05,-7.628324237884954e-05,-7.225834269775078e-05,-6.820004637120292e-05,-6.410985952243209e-05,-5.998930646455847e-05,-5.583994061453268e-05,-5.166331902728416e-05,-4.7461009671678767e-05,-4.323459506849758e-05,-3.898566501447931e-05,-3.4715831134235486e-05,-3.0426697776420042e-05,-2.6119896574527957e-05,-2.1797055524075404e-05,-1.7459820810472593e-05,-1.310983770963503e-05,-8.748763320909347e-06,-4.378261110105086e-06,2.4595437447500595e-19,4.384346539154649e-06,8.773099580139387e-06,1.3164575648261234e-05,1.7557089449837804e-05,2.1948952053207904e-05,2.6338471798226237e-05,3.0723957024747506e-05,3.510371607262641e-05,3.947605364373885e-05,4.383927443996072e-05,4.819169043912552e-05,5.253160998108797e-05,5.685734868166037e-05,6.116721488069743e-05,6.545953510794789e-05,6.973263225518167e-05,7.39848255761899e-05,7.821446342859417e-05,8.241987961810082e-05,8.659942250233144e-05,9.075144771486521e-05,9.487431816523895e-05,9.896639676298946e-05,0.00010302607552148402,0.0001070517537300475,0.00011104183067800477,0.00011499471293063834,0.00011890882160514593,0.00012278261419851333,0.0001266145263798535,0.00013040303019806743,0.0001341466122539714,0.00013784375914838165,0.00014149297203402966,0.00014509282482322305,0.0001486418186686933,0.0001521385129308328,0.0001555814960738644,0.0001589693856658414,0.00016230078472290188,0.0001655743399169296,0.0001687886833678931,0.00017194251995533705,0.0001750345400068909,0.00017806347750592977,0.00018102803733199835,0.0001839270262280479,0.0001867592363851145,0.00018952345999423414,0.0001922185329021886,0.00019484333461150527,0.00019739674462471157,0.0001998776861000806,0.0002022850967478007,0.00020461794338189065,0.0002068752219201997,0.0002090559428324923,0.00021115917479619384,0.00021318398648872972,0.000215129490243271,0.00021699479839298874,0.0002187791105825454,0.0002204816264566034,0.0002221015456598252,0.00022363812604453415,0.00022509066911879927,0.0002264584763906896,0.00022774092212785035,0.00022893738059792668,0.00023004725517239422,0.0002310699928784743,0.00023200508439913392,0.00023285203496925533,0.00023361039347946644,0.00023427973792422563,0.00023485967540182173,0.00023534984211437404,0.000235749947023578,0.00023605968453921378,0.00023627880727872252,0.00023640708241146058,0.00023644434986636043,0.00023639044957235456,0.00023624526511412114,0.00023600873828399926,0.0002356807963224128,0.0002352614392293617,0.00023475071066059172,0.00023414863971993327,0.00023345535737462342,0.000232670980039984,0.0002317956677870825,0.00023082962434273213,0.00022977308253757656,0.0002286263188580051,0.00022738966799806803,0.00022606343554798514,0.00022464799985755235,0.00022314379748422652,0.00022155125043354928,0.0002198708534706384,0.00021810311591252685,0.00021624859073199332,0.00021430786000564694,0.00021228153491392732,0.0002101702702930197,0.0002079747646348551,0.0002056957018794492,0.00020333386783022434,0.00020089003373868763,0.00019836501451209188,0.00019575968326535076,0.0001930748694576323,0.00019031153351534158,0.00018747059220913798,0.00018455304962117225,0.0001815598807297647,0.00017849211872089654,0.00017535086954012513,0.00017213719547726214,0.0001688522461336106,0.00016549717111047357,0.00016207314911298454,0.00015858138795010746,0.00015502313908655196,0.00015139963943511248,0.00014771222777199,0.0001439622137695551,0.00014015093620400876,0.00013627974840346724,0.0001323500764556229,0.00012836334644816816,0.00012432098446879536,0.00012022446026094258,0.00011607527994783595,0.000111874942376744,0.00010762500460259616,0.00010332701640436426,9.898254938889295e-05,9.459321154281497e-05,9.016061812872067e-05,8.568641351303086e-05,8.117225661408156e-05,7.66197990742512e-05,7.203075801953673e-05,6.740683602401987e-05,6.274975748965517e-05,5.806125409435481e-05,5.334309025784023e-05,4.859702312387526e-05,4.38248498539906e-05,3.902835669578053e-05,3.420934808673337e-05,2.936965029221028e-05,2.4511087758583017e-05,1.9635499484138563e-05,1.4744735381100327e-05,9.840652637649328e-06,4.925116627418902e-06,-2.4595437447500595e-19,-4.932818228553515e-06,-9.871452675724868e-06,-1.4814013411523774e-05,-1.9758606867981143e-05,-2.4703331291675568e-05,-2.9646285838680342e-05,-3.458556966506876e-05,-3.951927646994591e-05,-4.444549995241687e-05,-4.9362330173607916e-05,-5.426786810858175e-05,-5.916020381846465e-05,-6.403744191629812e-05,-6.889767246320844e-05,-7.373900734819472e-05,-7.855954027036205e-05,-8.335741586051881e-05,-8.813072054181248e-05,-9.287759894505143e-05,-9.759617387317121e-05,-0.0001022845899569802,-0.0001069409991032444,-0.0001115635532187298,-0.00011615042603807524,-0.00012069979129591957,-0.00012520984455477446,-0.00012967879592906684,-0.00013410483370535076,-0.00013848622620571405,-0.00014282118354458362,-0.00014710798859596252,-0.00015134489513002336,-0.0001555302005726844,-0.0001596622314536944,-0.00016373928519897163,-0.0001677597319940105,-0.00017172189836855978,-0.00017562419816385955,-0.00017946504522114992,-0.00018324282427784055,-0.00018695600738283247,-0.00019060305203311145,-0.000194182459381409,-0.00019769274513237178,-0.0002011324104387313,-0.00020450007286854088,-0.00020779429178219289,-0.00021101368474774063,-0.00021415688388515264,-0.00021722256497014314,-0.0002202094328822568,-0.0002231161925010383,-0.00022594160691369325,-0.00022868445375934243,-0.00023134355433285236,-0.00023391772992908955,-0.0002364058600505814,-0.00023880685330368578,-0.00024111964739859104,-0.0002433431800454855,-0.0002454764908179641,-0.0002475185610819608,-0.00024946851772256196,-0.00025132542941719294,-0.0002530883939471096,-0.00025475665461272,-0.00025632933829911053,-0.0002578057174105197,-0.0002591850934550166,-0.00026046670973300934,-0.0002616499550640583,-0.0002627342473715544,-0.00026371891726739705,-0.00026460346998646855,-0.00026538741076365113,-0.000266070244833827,-0.0002666515938472003,-0.0002671309921424836,-0.0002675080904737115,-0.0002677826560102403,-0.0002679543395061046,-0.00026802290813066065,-0.0002679881581570953,-0.0002678500022739172,-0.00026760820765048265,-0.0002672628324944526,-0.0002668137021828443,-0.0002662608749233186,-0.0002656043798197061,-0.000264844304183498,-0.0002639807644300163,-0.00026301390607841313,-0.0002619439910631627,-0.0002607711357995868,-0.00025949571863748133,-0.00025811800151132047,-0.00025663836277090013,-0.0002550572098698467,-0.0002533749502617866,-0.000251592107815668,-0.00024970914819277823,-0.00024772665346972644,-0.0002456451766192913,-0.00024346540158148855,-0.000241187954088673,-0.0002388135762885213,-0.0002363430248806253,-0.00023377702746074647,-0.0002311164716957137,-0.00022836218704469502,-0.0002255150757264346,-0.00022257606906350702,-0.00021954615658614784,-0.0002164263278245926,-0.0002132176305167377,-0.0002099211560562253,-0.00020653801038861275,-0.0002030693576671183,-0.00019951636204496026,-0.00019588027498684824,-0.0001921623043017462,-0.00018836378876585513,-0.0001844860234996304,-0.0001805303618311882,-0.0001764982007443905,-0.00017239093722309917,-0.0001682100264588371,-0.00016395696729887277,-0.0001596332440385595,-0.0001552404137328267,-0.00015078003343660384,-0.00014625371841248125,-0.00014166305481921881,-0.00013700973067898303,-0.00013229540491010994,-0.00012752179463859648,-0.0001226906169904396,-0.00011780365457525477,-0.00011286266089882702,-0.00010786945495055988,-0.00010282585571985692,-9.773371129995212e-05,-9.259490616386756e-05,-8.741132478462532e-05,-8.218488073907793e-05,-7.691750215599313e-05,-7.161115354392678e-05,-6.626779213547707e-05,-6.088941154303029e-05,-5.547801993088797e-05,-5.003563273930922e-05,-4.456429087440483e-05,-3.9066046156222e-05,-3.354295768076554e-05,-2.799710819090251e-05,-2.2430587705457583e-05,-1.684549897618126e-05,-1.1243954759265762e-05,-5.628077360597672e-06,2.4595437447500595e-19,5.6381363719992805e-06,1.1284183528914582e-05,1.693598460406065e-05,2.2591380911762826e-05,2.8248203307157382e-05,3.390428173588589e-05,3.955744250561111e-05,4.520550646702759e-05,5.084629447082989e-05,5.647762372973375e-05,6.209731509443372e-05,6.770319305360317e-05,7.329307845793664e-05,7.886478124419227e-05,8.441614045295864e-05,8.994498784886673e-05,9.54491479205899e-05,0.00010092646698467433,0.00010637479135766625,0.00011179198190802708,0.00011717589222826064,0.00012252439046278596,0.00012783535930793732,0.00013310668873600662,0.00013833628327120095,0.0001435220765415579,0.00014866195851936936,0.00015375389193650335,0.0001587958395248279,0.00016378576401621103,0.00016872164269443601,0.00017360149649903178,0.00017842334636952728,0.00018318521324545145,0.00018788516172207892,0.00019252131460234523,0.00019709172192960978,0.00020159452105872333,0.0002060278638964519,0.00021038990234956145,0.00021467887563630939,0.00021889293566346169,0.0002230303653050214,0.00022708943288307637,0.00023106842127162963,0.00023496562789659947,0.000238779466599226,0.00024250826390925795,0.0002461504191160202,0.00024970443337224424,0.0002531687496230006,0.0002565418544691056,0.0002598222636152059,0.00026300858007743955,0.00026609940687194467,0.00026909331791102886,0.00027198903262615204,0.0002747852704487741,0.00027748075081035495,0.00028007422224618495,0.0002825645206030458,0.00028495051083154976,0.00028723099967464805,0.00028940505580976605,0.00029147148597985506,0.0002934293879661709,0.00029527777223847806,0.0002970157365780324,0.0002986423787660897,0.0003001568838953972,0.0003015584370587021,0.00030284631066024303,0.000304019806208089,0.00030507819610647857,0.00030602089827880263,0.0003068473015446216,0.0003075568820349872,0.0003081491740886122,0.00030862365383654833,0.0003089799720328301,0.0003092177212238312,0.0003093366394750774,0.00030933640664443374,0.00030921678990125656,0.0003089776146225631,0.0003086187643930316,0.0003081400936935097,0.0003075416025239974,0.00030682331998832524,0.00030598515877500176,0.00030502735171467066,0.00030394995701499283,0.00030275314929895103,0.00030143719050101936,0.00030000234255567193,0.00029844892560504377,0.0002967773179989308,0.000294987898087129,0.00029308113153092563,0.00029105754219926894,0.00028891765396110713,0.00028666204889304936,0.0002842913963831961,0.00028180639492347836,0.00027920774300582707,0.0002764961973298341,0.00027367263101041317,0.0002707378298509866,0.0002676927833817899,0.00026453836471773684,0.0002612756215967238,0.0002579056308604777,0.0002544293529354036,0.0002508480101823807,0.00024716273765079677,0.0002433747285977006,0.00023948524903971702,0.0002354956086492166,0.0002314070879947394,0.00022722111316397786,0.0002229390520369634,0.00021856240346096456,0.00021409260807558894,0.00020953122293576598,0.00020487981964834034,0.0002001399698201567,0.00019531336147338152,0.00019040163897443563,0.0001854065340012312,0.0001803297782316804,0.00017517316155135632,0.00016993851750157773,0.00016462769417557865,0.00015924253966659307,0.00015378501848317683,0.00014825703692622483,0.00014266061771195382,0.00013699772534891963,0.00013127044076099992,0.00012548078666441143,0.00011963089491473511,0.00011372287553967908,0.0001077588603948243,0.00010174104681937024,9.56716321525164e-05,8.955282100941986e-05,8.338688348885626e-05,7.717606786172837e-05,7.092268788255751e-05,6.462902820203453e-05,5.8297453506384045e-05,5.1930292102042586e-05,4.5529919589171186e-05,3.9098726119846106e-05,3.263911639805883e-05,2.6153507860726677e-05,1.9644334315671586e-05,1.3114050489093643e-05,6.565113835677039e-06,-2.4595437447500595e-19,-6.5788053689175285e-06,-1.3168806617613882e-05,-1.9767498088185675e-05,-2.6372365027782507e-05,-3.298088631709106e-05,-3.959053719881922e-05,-4.6198776544770226e-05,-5.280306868371554e-05,-5.9400874306447804e-05,-6.598963955184445e-05,-7.256683602463454e-05,-7.912989531178027e-05,-8.56762781040743e-05,-9.220343781635165e-05,-9.870882786344737e-05,-0.00010518990166019648,-0.00011164412717334926,-0.00011806897236965597,-0.00012446189066395164,-0.00013082040823064744,-0.0001371419639326632,-0.00014342405484057963,-0.00014966423623263836,-0.00015585997607558966,-0.00016200881509575993,-0.00016810827946756035,-0.00017415596812497824,-0.00018014942179434001,-0.00018608621030580252,-0.00019196396169718355,-0.0001977802749024704,-0.00020353277795948088,-0.00020921917166560888,-0.00021483706950675696,-0.00022038423048797995,-0.0002258583263028413,-0.0002312571305083111,-0.0002365783875575289,-0.00024181990011129528,-0.0002469794708304107,-0.0002520549751352519,-0.0002570442156866193,-0.00026194515521638095,-0.000266755698248744,-0.00027147383661940694,-0.00027609747485257685,-0.00028062472119927406,-0.00028505356749519706,-0.00028938212199136615,-0.0002936085220426321,-0.0002977309050038457,-0.0003017474664375186,-0.0003056564019061625,-0.00030945599428378046,-0.00031314458465203643,-0.00031672045588493347,-0.0003201820363756269,-0.00032352766720578074,-0.00032675592228770256,-0.00032986520091071725,-0.0003328541060909629,-0.00033572118263691664,-0.0003384650917723775,-0.00034108449472114444,-0.0003435781109146774,-0.00034594471799209714,-0.00034818309359252453,-0.00035029210266657174,-0.0003522706392686814,-0.00035411768476478755,-0.00035583219141699374,-0.00035741322790272534,-0.0003588598920032382,-0.0003601713397074491,-0.00036134669790044427,-0.00036238529719412327,-0.00036328635178506374,-0.0003640492504928261,-0.0003646733530331403,-0.00036515816464088857,-0.0003655031032394618,-0.000365707790479064,-0.00036577178980223835,-0.00036569475196301937,-0.0003654763859231025,-0.00036511645885184407,-0.0003646148252300918,-0.0003639712813310325,-0.00036318576894700527,-0.00036225831718184054,-0.0003611888678278774,-0.0003599775955080986,-0.00035862455843016505,-0.0003571299894247204,-0.0003554941213224083,-0.00035371724516153336,-0.0003517997683957219,-0.00034974204027093947,-0.00034754452644847333,-0.0003452077799011022,-0.0003427323536016047,-0.00034011882962659,-0.00033736799377948046,-0.0003344804863445461,-0.0003314571513328701,-0.00032829877454787493,-0.00032500625820830464,-0.00032158062094822526,-0.00031802276498638093,-0.0003143338253721595,-0.00031051484984345734,-0.0003065670607611537,-0.00030249159317463636,-0.00029828972765244544,-0.00029396277386695147,-0.0002895120996981859,-0.00028493916033767164,-0.00028024535276927054,-0.00027543221949599683,-0.0002705013321246952,-0.00026545426226221025,-0.00026029269793070853,-0.00025501829804852605,-0.0002496328961569816,-0.0002441382093820721,-0.00023853612947277725,-0.00023282853362616152,-0.00022701734269503504,-0.00022110453573986888,-0.000215092150028795,-0.00020898222282994539,-0.0002027768932748586,-0.00019647825683932751,-0.00019008855451829731,-0.00018360998365096748,-0.00017704482888802886,-0.00017039536032825708,-0.00016366394993383437,-0.00015685298421885818,-0.00014996484969742596,-0.0001430020056432113,-0.0001359669549856335,-0.00012886218610219657,-0.00012169028195785359,-0.00011445378913776949,-0.00010715534153860062,-9.979758033296093e-05,-9.238317579729483e-05,-8.491483458783478e-05,-7.739526336081326e-05,-6.982722698012367e-05,-6.221351941348985e-05,-5.455691643874161e-05,-4.68602629553061e-05,-3.912639294867404e-05,-3.135818406008184e-05,-2.3558524844702333e-05,-1.5730320228612982e-05,-7.87649696576409e-06,2.4595437447500595e-19,7.896213901403826e-06,1.5809167962288484e-05,2.3735878130537458e-05,3.1673342164140195e-05,3.9618549635633826e-05,4.7568475565640256e-05,5.552009315579198e-05,6.347035377984866e-05,7.141622336348519e-05,7.935464236652479e-05,8.728254033485427e-05,9.519688319414854e-05,0.00010309457866242155,0.00011097257811343297,0.00011882781836902723,0.00012665723625104874,0.0001344577467534691,0.0001422263158019632,0.0001499598438385874,0.0001576553622726351,0.00016530975699424744,0.00017292003030888736,0.0001804831117624417,0.00018799604731611907,0.00019545579561963677,0.00020285935897845775,0.00021020378335379064,0.00021748608560301363,0.0002247033262392506,0.00023185258032754064,0.0002389309083810076,0.00024593545822426677,0.0002528633049223572,0.0002597116690594703,0.00026647766935639083,0.00027315851184539497,0.0002797514316625893,0.00028625363484025,0.00029266244382597506,0.00029897515196353197,0.00030518905259668827,0.0003113015554845333,0.000317310041282326,0.00032321191974915564,0.000329004687955603,0.00033468581386841834,0.00034025279455818236,0.0003457032435107976,0.00035103477421216667,0.00035624500014819205,0.00036133165122009814,0.0003662923409137875,0.0003711249737534672,0.00037582727964036167,0.0003803971048910171,0.00038483241223730147,0.00038913104799576104,0.00039329109131358564,0.0003973105049226433,0.00040118739707395434,0.0004049199342262,0.00040850628283806145,0.00041194463847205043,0.0004152333131060004,0.00041837061871774495,0.0004213550128042698,0.0004241848364472389,0.0004268586926627904,0.00042937503894791007,0.0004317325074225664,0.0004339297884143889,0.0004359656013548374,0.00043783869477920234,0.00043954793363809586,0.00044109218288213015,0.00044247042387723923,0.00044368166709318757,0.00044472498120740056,0.0004455994931049645,0.0004463043878786266,0.00044683896703645587,0.00044720256119035184,0.00044739447184838355,0.00044741423334926367,0.00044726129272021353,0.00044693530071526766,0.0004464358207769692,0.00044576259097084403,0.00044491534936241806,0.00044389397953636944,0.00044269836507737637,0.0004413284477777779,0.000439784285845235,0.000438065966591239,0.00043617363553494215,0.00043410752550698817,0.0004318679857533425,0.0004294553364161402,0.0004268699558451772,0.0004241123970132321,0.00042118324199691415,0.0004180830728728324,0.0004148125881329179,0.0004113725444767624,0.00040776378591544926,0.00040398724377155304,0.00040004379115998745,0.00039593453402630985,0.00039166046190075576,0.00038722282624803483,0.0003826228203251958,0.00037786169559694827,0.0003729408490471542,0.000367861648555845,0.0003626256075222045,0.0003572342393454164,0.0003516891738399863,0.00034599206992425025,0.00034014464472420514,0.0003341487026773393,0.00032800607732497156,0.000321718689519912,0.0003152885183226317,0.00030871760100126266,0.00030200803303159773,0.0002951619098894298,0.0002881815016735345,0.00028106910758651793,0.00027382693951949477,0.0002664574421942234,0.00025896303122863173,0.0002513461804483086,0.0002436094800941646,0.00023575547675136477,0.00022778683342039585,0.00021970622765365988,0.00021151640976313502,0.00020322020282037556,0.0001948204153450206,0.00018631995772011578,0.00017772176943253726,0.00016902883362490684,0.0001602441625436768,0.00015137084119487554,0.00014241196913644671,0.0001333707186859101,0.00012425027671270072,0.00011505389556987211,0.00010578483488643542,9.644639794714749e-05,8.70419607963413e-05,7.75748849264346e-05,6.804858276154846e-05,5.846651765750721e-05,4.883216388407163e-05,3.9149039366748184e-05,2.942067658295855e-05,1.9650648027891293e-05,9.842549843597226e-06,-2.4595437447500595e-19,-9.873356248135678e-06,-1.977385181817226e-05,-2.969779416162055e-05,-3.9641479816054925e-05,-4.960117439622991e-05,-5.9573136240942404e-05,-6.955360731808469e-05,-7.953879685373977e-05,-8.95249322638847e-05,-9.950819367077202e-05,-0.00010948478302452713,-0.00011945085861952975,-0.00012940260057803243,-0.0001393361744703725,-0.00014924774586688727,-0.00015913342940621078,-0.0001689894124865532,-0.000178811838850379,-0.00018859685224015266,-0.0001983406109502539,-0.0002080392587231472,-0.0002176889538532123,-0.0002272858691867441,-0.00023682619212195277,-0.0002463060664013028,-0.0002557217376306653,-0.00026506936410441995,-0.00027434519142843783,-0.0002835454361047596,-0.00029266634373925626,-0.00030170424724929035,-0.00031065530492924154,-0.00031951593700796366,-0.00032828241819515824,-0.00033695108140818775,-0.00034551837597973645,-0.0003539806348271668,-0.00036233433638699353,-0.00037057590088807046,-0.0003787018358707428,-0.0003867086779791862,-0.0003945929347537458,-0.0004023512592539191,-0.0004099802172277123,-0.0004174765490461141,-0.0004248368786647916,-0.0004320579464547336,-0.0004391365509945899,-0.00044606957817450166,-0.00045285382657311857,-0.0004594862402882427,-0.00046596373431384563,-0.0004722833982668817,-0.00047844223445281386,-0.0004844373615924269,-0.0004902658984065056,-0.0004959251382388175,-0.00050141237443313,-0.0005067247548140585,-0.0005118598346598446,-0.0005168148782104254,-0.0005215875571593642,-0.0005261753685772419,-0.000530575925949961,-0.0005347868427634239,-0.0005388059071265161,-0.0005426308489404619,-0.0005462596891447902,-0.0005496902740560472,-0.0005529206246137619,-0.0005559487035498023,-0.0005587728228420019,-0.0005613910616375506,-0.0005638017901219428,-0.000566003262065351,-0.0005679939640685916,-0.0005697723827324808,-0.0005713370628654957,-0.0005726866656914353,-0.0005738199106417596,-0.0005747356917709112,-0.0005754326703026891,-0.0005759099731221795,-0.0005761665524914861,-0.0005762014770880342,-0.0005760141066275537,-0.0005756034515798092,-0.0005749691626988351,-0.0005741104250773787,-0.0005730267730541527,-0.0005717179155908525,-0.0005701835034415126,-0.0005684231873601675,-0.0005664369673468173,-0.0005642246105708182,-0.000561786291655153,-0.0005591218941845,-0.0005562317674048245,-0.0005531161441467702,-0.0005497753154486418,-0.0005462098051793873,-0.0005424200207926333,-0.0005384066607803106,-0.0005341703072190285,-0.0005297118914313614,-0.0005250321119092405,-0.0005201319581829011,-0.0005150125361979008,-0.0005096749518997967,-0.0005041203112341464,-0.0004983499529771507,-0.0004923652159050107,-0.00048616764252074063,-0.00047975871711969376,-0.0004731400986202061,-0.00046631338773295283,-0.00045928050531074405,-0.0004520432557910681,-0.00044460364733822644,-0.00043696368811652064,-0.0004291254736017436,-0.0004210912447888404,-0.00041286330088041723,-0.000404443999286741,-0.0003958357556257397,-0.00038704113103449345,-0.0003780627157539129,-0.00036890318733640015,-0.00035956528154201806,-0.0003500519087538123,-0.0003403659211471677,-0.00033051034552045166,-0.00032048820867203176,-0.00031030268291942775,-0.00029995691147632897,-0.00028945424128323793,-0.0002787979901768267,-0.0002679915924090892,-0.0002570385404396802,-0.000245942355832085,-0.00023470670566894114,-0.0002233352861367166,-0.00021183182252570987,-0.00020020012743771076,-0.00018844412988983095,-0.0001765677152434364,-0.00016457491437904537,-0.00015246978728100657,-0.00014025646669324487,-0.00012793911446351558,-0.00011552195064723492,-0.00010300926805939525,-9.040540317073464e-05,-7.771475793560967e-05,-6.494174886029214e-05,-5.2090872486587614e-05,-3.916665446013212e-05,-2.617368591018021e-05,-1.3116579793859273e-05,2.4595437447500595e-19,1.317134501732653e-05,2.6392714062239975e-05,3.96593204641249e-05,5.296634481055662e-05,6.630893767578527e-05,7.968221325427294e-05,9.308125299867243e-05,0.00010650110925780609,0.00011993679800070822,0.00013338332064449787,0.00014683566405437887,0.00016028876416385174,0.00017373754235450178,0.00018717693455982953,0.00020060180395375937,0.00021400704281404614,0.000227387499762699,0.00024073803797364235,0.00025405347696505487,0.00026732866535894573,0.00028055839356966317,0.00029373751021921635,0.0003068608057219535,0.00031992309959605336,0.00033291918225586414,0.00034584393142722547,0.00035869210842065513,0.00037145853275433183,0.0003841380530502647,0.00039672551793046296,0.00040921574691310525,0.0004216036177240312,0.0004338840371929109,0.0004460518539417535,0.00045810206211172044,0.0004700295103248209,0.00048182919272221625,0.0004934961325488985,0.0005050252075307071,0.0005164116155356169,0.0005276503507047892,0.0005387365235947073,0.0005496651865541935,0.0005604316829703748,0.0005710311233997345,0.0005814587348140776,0.0005917098606005311,0.000601779785938561,0.0006116638542152941,0.0006213575252331793,0.0006308563752099872,0.0006401558057405055,0.0006492513930425048,0.0006581388297490776,0.0006668137502856553,0.0006752719054929912,0.0006835091044194996,0.0006915212725289166,0.0006993042188696563,0.0007068539853207767,0.0007141666719689965,0.0007212383789010346,0.0007280652062036097,0.0007346435450017452,0.0007409696700051427,0.0007470399723388255,0.0007528510759584606,0.0007583993719890714,0.0007636816008016467,0.0007686945027671754,0.0007734347600489855,0.0007778994040563703,0.0007820853497833014,0.0007859896868467331,0.0007896095048636198,0.0007929420680738986,0.0007959846989251673,0.0007987348944880068,0.0008011900936253369,0.000803347968030721,0.0008052061311900616,0.000806762371212244,0.0008080147672444582,0.0008089611073955894,0.0008095995872281492,0.0008099284605123103,0.0008099458646029234,0.0008096504025161266,0.0008090404444374144,0.0008081147097982466,0.0008068718598224223,0.0008053106721490622,0.0008034302154555917,0.0008012294420041144,0.0007987075368873775,0.000795863859821111,0.0007926976541057229,0.000789208454079926,0.0007853958522900939,0.0007812597323209047,0.0007767996867187321,0.000772015773691237,0.0007669081096537411,0.0007614768692292273,0.0007557222852483392,0.0007496447651647031,0.0007432449492625892,0.0007365233614109457,0.0007294808747246861,0.0007221182459034026,0.0007144366391003132,0.0007064371020533144,0.0006981208571232855,0.0006894893595017493,0.0006805439479649067,0.0006712863687425852,0.0006617181934416294,0.0006518414593301713,0.0006416578544303775,0.0006311697652563453,0.0006203791708685458,0.0006092884577810764,0.0005979000707156956,0.0005862165708094835,0.0005742406356148422,0.0005619749426841736,0.0005494225770235062,0.0005365864490158856,0.0005234697018750012,0.000510075653437525,0.0004964076215401292,0.0004824691277462989,0.0004682637518271804,0.0004537952190730721,0.0004390673420857638,0.00042408410809002817,0.0004088495043106377,0.0003933677508030087,0.00037764309672638774,0.00036167993675917387,0.0003454827528912574,0.00032905611442402005,0.0003124047943856567,0.00029553353670053184,0.0002784472599159926,0.000261151057202369,0.0002436499489704147,0.00022594921756535769,0.00020805414533242583,0.00018997018923982978,0.00017170283535961062,0.00015325768617913127,0.00013464046060107648,0.00011585696483962238,9.691306331660599e-05,7.781475142110139e-05,5.8568097301758826e-05,3.9179245504783466e-05,1.9654438801808283e-05,-2.4595437447500595e-19,-1.977766260097269e-05,-3.9672064303886145e-05,-5.967664401396178e-05,-7.978475332492962e-05,-9.998967288993299e-05,-0.00012028461787849665,-0.00014066272706259042,-0.00016111704462673515,-0.00018164061475545168,-0.00020222633611410856,-0.00022286706371232867,-0.00024355565255973488,-0.0002642848121467978,-0.0002850472228601575,-0.0003058355359826237,-0.00032664230093359947,-0.00034746009623631835,-0.0003682813548948616,-0.0003890985099133104,-0.0004099039360880852,-0.00043068997911177576,-0.0004514489264693111,-0.0004721730074379593,-0.0004928545095026493,-0.0005134855746291578,-0.000534058315679431,-0.0005545649328269064,-0.0005749974516220391,-0.0005953479558229446,-0.0006156085291877389,-0.0006357711972668767,-0.0006558278691954911,-0.0006757706287316978,-0.0006955913850106299,-0.0007152821635827422,-0.0007348348735831678,-0.0007542414823547006,-0.0007734938990324736,-0.0007925840909592807,-0.0008115039672702551,-0.0008302454953081906,-0.0008488006424158812,-0.0008671614341437817,-0.0008853196632117033,-0.0009032674133777618,-0.0009209967101924121,-0.0009384994627907872,-0.0009557678131386638,-0.0009727938449941576,-0.0009895694674924016,-0.0010060869390144944,-0.0010223384015262127,-0.0010383159387856722,-0.0010540118673816323,-0.0010694182710722089,-0.001084527699276805,-0.0010993322357535362,-0.001113824313506484,-0.0011279964819550514,-0.0011418410576879978,-0.0011553507065400481,-0.0011685179779306054,-0.0011813354212790728,-0.001193795702420175,-0.0012058918364346027,-0.0012176163727417588,-0.0012289624428376555,-0.0012399227125570178,-0.0012504905462265015,-0.001260658958926797,-0.0012704209657385945,-0.0012797699309885502,-0.0012886993354186416,-0.0012972024269402027,-0.0013052728027105331,-0.0013129040598869324,-0.0013200899120420218,-0.0013268240727484226,-0.0013331006048247218,-0.0013389132218435407,-0.0013442562194541097,-0.0013491236604750156,-0.001353509840555489,-0.001357409288175404,-0.0013608162989839911,-0.001363725634291768,-0.0013661319389939308,-0.0013680299744009972,-0.0013694147346541286,-0.00137028144672513,-0.0013706249883398414,-0.001370440935716033,-0.0013697246322408319,-0.0013684715377166867,-0.0013666774611920118,-0.0013643379788845778,-0.0013614492490887642,-0.0013580074300989509,-0.001354008330963552,-0.0013494485756382346,-0.001344324671663344,-0.0013386330101639032,-0.0013323704479262233,-0.0013255338417366147,-0.0013181202812120318,-0.001310126855969429,-0.001301551004871726,-0.0012923900503665209,-0.001282641664147377,-0.001272303517907858,-0.0012613737490028143,-0.0012498502619564533,-0.0012377311941236258,-0.0012250150321051478,-0.001211700146086514,-0.001197785371914506,-0.0011832695454359055,-0.0011681513860821724,-0.0011524303117766976,-0.0011361055076122284,-0.0011191765079274774,-0.0011016428470611572,-0.0010835041757673025,-0.0010647607268765569,-0.0010454123839735985,-0.0010254594963043928,-0.0010049024131149054,-0.000983741832897067,-0.000961978395935148,-0.0009396130335517228,-0.0009166468516923487,-0.0008930811891332269,-0.0008689172100275755,-0.0008441567188128829,-0.0008188012870959938,-0.0007928528939373791,-0.000766313576605171,-0.000739185546990484,-0.0007114712498150766,-0.000683173188008368,-0.0006542941555380821,-0.0006248368881642818,-0.0005948045873083174,-0.0005642003961838782,-0.0005330276326276362,-0.000501289963722229,-0.0004689909692388028,-0.0004361345199868083,-0.00040272471960633993,-0.00036876564263366163,-0.0003342617128510028,-0.00029921738314442337,-0.00026363731012679636,-0.00022752632503397763,-0.0001908893755171448,-0.0001537315984023735,-0.00011605824693106115,-7.787479262333363e-05,-3.918679794878699e-05,2.4595437447500595e-19,3.967971497331746e-05,7.984630792634562e-05,0.00012049359793309122,0.00016161525854840875,0.00020320482144597918,0.0002452556509524584,0.00028776098042726517,0.000330713955918327,0.0003741075051948428,0.0004179344105068594,0.00046218742500059307,0.0005068590398877859,0.0005519417463801801,0.0005974277155473828,0.0006433092639781535,0.0006895782425999641,0.0007362266187556088,0.0007832462433725595,0.0008306287345476449,0.0008783655357547104,0.0009264482068829238,0.0009748679585754871,0.0010236159432679415,0.001072683371603489,0.0011220610467717052,0.0011717398883774877,0.0012217106996104121,0.0012719640508294106,0.0013224906288087368,0.0013732805382460356,0.0014243245823308825,0.0014756127493456006,0.0015271351439878345,0.0015788821037858725,0.001630843267776072,0.0016830088570713997,0.0017353686271235347,0.0017879119841381907,0.0018406290328130126,0.001893509179353714,0.0019465420627966523,0.001999716740101576,0.0020530230831354856,0.002106450265273452,0.0021599873434752226,0.00221362360753119,0.0022673483472317457,0.0023211503867059946,0.0023750190157443285,0.002428943058475852,0.0024829120375216007,0.0025369138456881046,0.0025909377727657557,0.0026449731085449457,0.0026990079786628485,0.002753031672909856,0.002807032782584429,0.0028609998989850283,0.0029149216134101152,0.0029687867499887943,0.00302258413285017,0.0030763023532927036,0.0031299300026148558,0.003183455439284444,0.0032368674874305725,0.0032901549711823463,0.0033433064818382263,0.0033963103778660297,0.0034491554833948612,0.003501830156892538,0.003554323920980096,0.003606624435633421,0.003658721223473549,0.0037106021773070097,0.0037622570525854826,0.0038136737421154976,0.0038648415356874466,0.003915749024599791,0.0039663854986429214,0.004016739781945944,0.004066800232976675,0.004116557072848082,0.004165997728705406,0.00421511335298419,0.004263890907168388,0.0043123215436935425,0.00436039362102747,0.004408096894621849,0.004455420188605785,0.004502353258430958,0.004548886325210333,0.004595008213073015,0.004640709143131971,0.004685978405177593,0.004730806685984135,0.0047751828096807,0.004819098394364119,0.004862542729824781,0.004905505105853081,0.00494797807186842,0.004989950451999903,0.005031413398683071,0.005072357133030891,0.005112772807478905,0.0051526520401239395,0.005191984120756388,0.005230761598795652,0.0052689746953547,0.005306615494191647,0.005343675147742033,0.005380145274102688,0.0054160174913704395,0.005451283883303404,0.005485936999320984,0.0055199675261974
  states: {}
- name: f
  id: variable_qtgui_range
  parameters:
    label: frequency
    start: '-samp_rate/2'
    step: '1'
    stop: samp_rate/2
    value: '0'
  states: {}
- name: f_cutoff
  id: variable
  parameters:
    value: '1000'
  states: {}
- name: low_pass_filter_taps
  id: variable_low_pass_filter_taps
  parameters:
    cutoff_freq: '1000'
    gain: '1.0'
    samp_rate: samp_rate
    width: '200'
    win: window.WIN_HAMMING
  states: {state: disabled}
- name: n
  id: variable
  parameters:
    value: '1024'
  states: {}
- name: samp_rate
  id: variable
  parameters:
    value: '32000'
  states: {}
- name: trans_width
  id: variable
  parameters:
    value: '200'
  states: {}
- name: analog_sig_source_x_0_0
  id: analog_sig_source_x
  parameters:
    amp: '1'
    freq: f
    offset: '0'
    phase: '0'
    samp_rate: samp_rate
    type: float
    waveform: analog.GR_COS_WAVE
  states: {}
- name: blocks_throttle2_0
  id: blocks_throttle2
  parameters:
    samples_per_second: samp_rate
    type: complex
  states: {}
- name: freq_xlating_fir_filter_xxx_0
  id: freq_xlating_fir_filter_xxx
  parameters:
    center_freq: '0'
    decim: '1'
    samp_rate: samp_rate
    taps: boxcar_filter
    type: fcc
  states: {}
- name: import_0
  id: import
  parameters:
    imports: import numpy as np
  states: {}
- name: qtgui_freq_sink_x_0
  id: qtgui_freq_sink_x
  parameters:
    bw: samp_rate
    fc: '0'
    fftsize: '1024'
    type: complex
  states: {}

connections:
- [analog_sig_source_x_0_0, '0', freq_xlating_fir_filter_xxx_0, '0']
- [blocks_throttle2_0, '0', qtgui_freq_sink_x_0, '0']
- [freq_xlating_fir_filter_xxx_0, '0', blocks_throttle2_0, '0']

metadata:
  file_format: 1
  grc_version: 3.10.10.0
